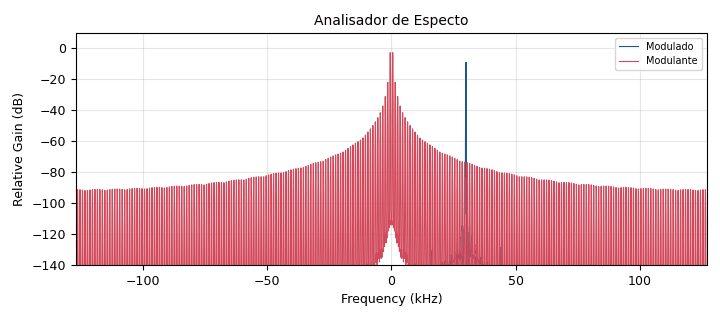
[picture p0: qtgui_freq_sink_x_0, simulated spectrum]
options:
  parameters:
    author: pedro
    generate_options: qt_gui
    id: m180108140_Exp05_AR02a
    output_language: python
    title: AR02a
  states: {}

blocks:
- name: pi
  id: variable
  parameters:
    value: '3.141592654'
  states: {}
- name: samp_rate
  id: variable
  parameters:
    value: '254000'
  states: {}
- name: analog_sig_source_x_0
  id: analog_sig_source_x
  parameters:
    amp: '10'
    freq: '500'
    offset: '-5'
    phase: '0'
    samp_rate: samp_rate
    type: float
    waveform: analog.GR_TRI_WAVE
  states: {}
- name: analog_sig_source_x_0_0
  id: analog_sig_source_x
  parameters:
    amp: '1'
    freq: '30000'
    offset: '0'
    phase: '0'
    samp_rate: samp_rate
    type: complex
    waveform: analog.GR_COS_WAVE
  states: {}
- name: blocks_delay_0
  id: blocks_delay
  parameters:
    delay: '1'
    type: float
  states: {}
- name: blocks_float_to_complex_0
  id: blocks_float_to_complex
  parameters: {}
  states: {}
- name: blocks_multiply_xx_0
  id: blocks_multiply_xx
  parameters:
    type: complex
  states: {}
- name: blocks_sub_xx_0
  id: blocks_sub_xx
  parameters:
    type: float
  states: {}
- name: blocks_throttle_0
  id: blocks_throttle
  parameters:
    samples_per_second: samp_rate
    type: float
  states: {}
- name: blocks_throttle_0_0
  id: blocks_throttle
  parameters:
    samples_per_second: samp_rate
    type: complex
  states: {}
- name: blocks_vco_c_0
  id: blocks_vco_c
  parameters:
    amplitude: '1'
    samp_rate: samp_rate
    sensitivity: 2*pi
  states: {}
- name: qtgui_freq_sink_x_0
  id: qtgui_freq_sink_x
  parameters:
    bw: samp_rate
    ctrlpanel: 'True'
    fc: '0'
    fftsize: '4096'
    grid: 'True'
    label1: Modulado
    label2: Modulante
    name: Analisador de Especto
    nconnections: '2'
    type: complex
    wintype: firdes.WIN_BLACKMAN_hARRIS
  states: {}
- name: qtgui_time_sink_x_0
  id: qtgui_time_sink_x
  parameters:
    ctrlpanel: 'True'
    grid: 'True'
    label1: Re{Modulado}
    label2: Im{Modulado}
    label3: Re{Modulante}
    label4: Im{Modulante}
    name: Osciloscópio
    nconnections: '2'
    size: '4096'
    srate: samp_rate
    tr_mode: qtgui.TRIG_MODE_AUTO
    type: complex
    yunit: V
  states: {state: disabled}

connections:
- [analog_sig_source_x_0, '0', blocks_throttle_0, '0']
- [analog_sig_source_x_0_0, '0', blocks_throttle_0_0, '0']
- [blocks_delay_0, '0', blocks_sub_xx_0, '0']
- [blocks_float_to_complex_0, '0', qtgui_freq_sink_x_0, '1']
- [blocks_float_to_complex_0, '0', qtgui_time_sink_x_0, '1']
- [blocks_multiply_xx_0, '0', qtgui_freq_sink_x_0, '0']
- [blocks_multiply_xx_0, '0', qtgui_time_sink_x_0, '0']
- [blocks_sub_xx_0, '0', blocks_vco_c_0, '0']
- [blocks_throttle_0, '0', blocks_delay_0, '0']
- [blocks_throttle_0, '0', blocks_float_to_complex_0, '0']
- [blocks_throttle_0, '0', blocks_sub_xx_0, '1']
- [blocks_throttle_0_0, '0', blocks_multiply_xx_0, '1']
- [blocks_vco_c_0, '0', blocks_multiply_xx_0, '0']

metadata:
  file_format: 1
